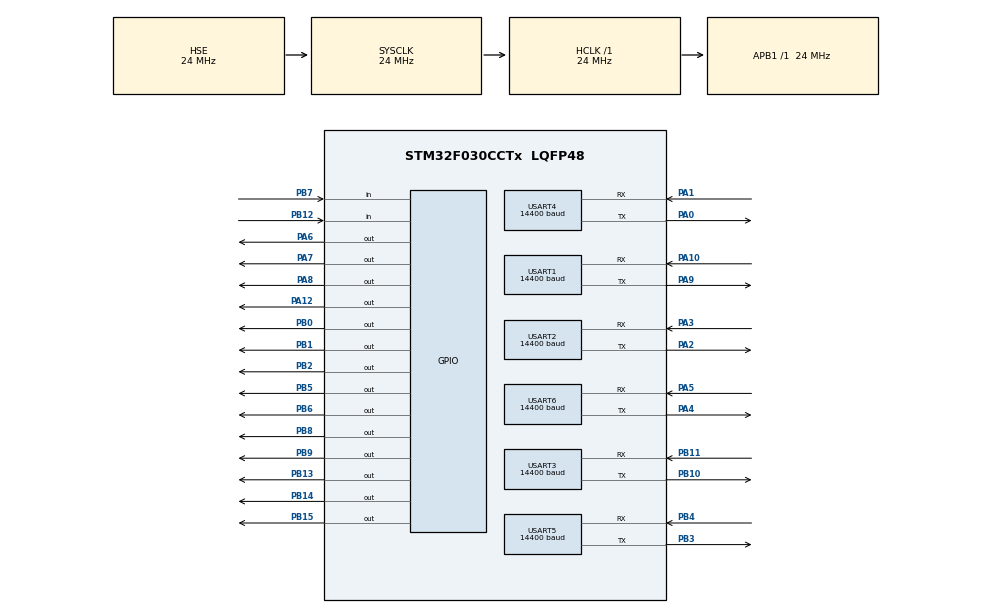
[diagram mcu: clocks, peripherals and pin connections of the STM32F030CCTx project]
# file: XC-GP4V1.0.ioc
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Mcu.Family=STM32F0
Mcu.Name=STM32F030CCTx
Mcu.Package=LQFP48
NVIC.TIM3_IRQn=true\:0\:0\:false\:false\:true\:true\:true
NVIC.USART1_IRQn=true\:0\:0\:false\:false\:true\:true\:true
NVIC.USART2_IRQn=true\:0\:0\:false\:false\:true\:true\:true
NVIC.USART3_6_IRQn=true\:0\:0\:false\:false\:true\:true\:true
PA0.Mode=Asynchronous
PA0.Signal=USART4_TX
PA1.Mode=Asynchronous
PA1.Signal=USART4_RX
PA10.Mode=Asynchronous
PA10.Signal=USART1_RX
PA12.GPIO_ModeDefaultOutputPP=GPIO_MODE_OUTPUT_PP
PA12.GPIO_PuPd=GPIO_NOPULL
PA12.GPIO_Speed=GPIO_SPEED_FREQ_LOW
PA12.PinState=GPIO_PIN_RESET
PA12.Signal=GPIO_Output
PA13.Mode=Serial_Wire
PA13.Signal=SYS_SWDIO
PA14.Mode=Serial_Wire
PA14.Signal=SYS_SWCLK
PA2.Mode=Asynchronous
PA2.Signal=USART2_TX
PA3.Mode=Asynchronous
PA3.Signal=USART2_RX
PA4.Mode=Asynchronous
PA4.Signal=USART6_TX
PA5.Mode=Asynchronous
PA5.Signal=USART6_RX
PA6.GPIO_ModeDefaultOutputPP=GPIO_MODE_OUTPUT_PP
PA6.GPIO_PuPd=GPIO_NOPULL
PA6.GPIO_Speed=GPIO_SPEED_FREQ_LOW
PA6.PinState=GPIO_PIN_RESET
PA6.Signal=GPIO_Output
PA7.GPIO_ModeDefaultOutputPP=GPIO_MODE_OUTPUT_PP
PA7.GPIO_PuPd=GPIO_NOPULL
PA7.GPIO_Speed=GPIO_SPEED_FREQ_LOW
PA7.PinState=GPIO_PIN_RESET
PA7.Signal=GPIO_Output
PA8.GPIO_ModeDefaultOutputPP=GPIO_MODE_OUTPUT_PP
PA8.GPIO_PuPd=GPIO_NOPULL
PA8.GPIO_Speed=GPIO_SPEED_FREQ_LOW
PA8.PinState=GPIO_PIN_RESET
PA8.Signal=GPIO_Output
PA9.Mode=Asynchronous
PA9.Signal=USART1_TX
PB0.GPIO_ModeDefaultOutputPP=GPIO_MODE_OUTPUT_PP
PB0.GPIO_PuPd=GPIO_NOPULL
PB0.GPIO_Speed=GPIO_SPEED_FREQ_LOW
PB0.PinState=GPIO_PIN_RESET
PB0.Signal=GPIO_Output
PB1.GPIO_ModeDefaultOutputPP=GPIO_MODE_OUTPUT_PP
PB1.GPIO_PuPd=GPIO_NOPULL
PB1.GPIO_Speed=GPIO_SPEED_FREQ_LOW
PB1.PinState=GPIO_PIN_RESET
PB1.Signal=GPIO_Output
PB10.Mode=Asynchronous
PB10.Signal=USART3_TX
PB11.Mode=Asynchronous
PB11.Signal=USART3_RX
PB12.GPIO_Mode=GPIO_MODE_INPUT
PB12.GPIO_PuPd=GPIO_NOPULL
PB12.Signal=GPIO_Input
PB13.GPIO_ModeDefaultOutputPP=GPIO_MODE_OUTPUT_PP
PB13.GPIO_PuPd=GPIO_NOPULL
PB13.GPIO_Speed=GPIO_SPEED_FREQ_LOW
PB13.PinState=GPIO_PIN_RESET
PB13.Signal=GPIO_Output
PB14.GPIO_ModeDefaultOutputPP=GPIO_MODE_OUTPUT_PP
PB14.GPIO_PuPd=GPIO_NOPULL
PB14.GPIO_Speed=GPIO_SPEED_FREQ_LOW
PB14.PinState=GPIO_PIN_RESET
PB14.Signal=GPIO_Output
PB15.GPIO_ModeDefaultOutputPP=GPIO_MODE_OUTPUT_PP
PB15.GPIO_PuPd=GPIO_NOPULL
PB15.GPIO_Speed=GPIO_SPEED_FREQ_LOW
PB15.PinState=GPIO_PIN_RESET
PB15.Signal=GPIO_Output
PB2.GPIO_ModeDefaultOutputPP=GPIO_MODE_OUTPUT_PP
PB2.GPIO_PuPd=GPIO_NOPULL
PB2.GPIO_Speed=GPIO_SPEED_FREQ_LOW
PB2.PinState=GPIO_PIN_RESET
PB2.Signal=GPIO_Output
PB3.Mode=Asynchronous
PB3.Signal=USART5_TX
PB4.Mode=Asynchronous
PB4.Signal=USART5_RX
PB5.GPIO_ModeDefaultOutputPP=GPIO_MODE_OUTPUT_PP
PB5.GPIO_PuPd=GPIO_NOPULL
PB5.GPIO_Speed=GPIO_SPEED_FREQ_LOW
PB5.PinState=GPIO_PIN_RESET
PB5.Signal=GPIO_Output
PB6.GPIO_FM6=__NULL
PB6.GPIO_ModeDefaultOutputPP=GPIO_MODE_OUTPUT_PP
PB6.GPIO_PuPd=GPIO_NOPULL
PB6.GPIO_Speed=GPIO_SPEED_FREQ_LOW
PB6.PinState=GPIO_PIN_RESET
PB6.Signal=GPIO_Output
PB7.GPIO_Mode=GPIO_MODE_INPUT
PB7.GPIO_PuPd=GPIO_NOPULL
PB7.Signal=GPIO_Input
PB8.GPIO_FM8=__NULL
PB8.GPIO_ModeDefaultOutputPP=GPIO_MODE_OUTPUT_PP
PB8.GPIO_PuPd=GPIO_NOPULL
PB8.GPIO_Speed=GPIO_SPEED_FREQ_LOW
PB8.PinState=GPIO_PIN_RESET
PB8.Signal=GPIO_Output
PB9.GPIO_FM9=__NULL
PB9.GPIO_ModeDefaultOutputPP=GPIO_MODE_OUTPUT_PP
PB9.GPIO_PuPd=GPIO_NOPULL
PB9.GPIO_Speed=GPIO_SPEED_FREQ_LOW
PB9.PinState=GPIO_PIN_RESET
PB9.Signal=GPIO_Output
PF0-OSC_IN.Mode=HSE-External-Oscillator
PF0-OSC_IN.Signal=RCC_OSC_IN
PF1-OSC_OUT.Mode=HSE-External-Oscillator
PF1-OSC_OUT.Signal=RCC_OSC_OUT
ProjectManager.HeapSize=0x200
ProjectManager.StackSize=0x400
ProjectManager.TargetToolchain=EWARM V8.32
RCC.AHBFreq_Value=24000000
RCC.APB1Freq_Value=24000000
RCC.APB1TimFreq_Value=24000000
RCC.HCLKFreq_Value=24000000
RCC.HSE_VALUE=24000000
RCC.SYSCLKFreq_VALUE=24000000
RCC.SYSCLKSource=RCC_SYSCLKSOURCE_HSE
RCC.Usart1ClockSelection=RCC_USART1CLKSOURCE_SYSCLK
TIM3.Period=1000
TIM3.Prescaler=24000
USART1.BaudRate=14400
USART1.SwapParam=ADVFEATURE_SWAP_ENABLE
USART1.VirtualMode-Asynchronous=VM_ASYNC
USART2.BaudRate=14400
USART2.VirtualMode-Asynchronous=VM_ASYNC
USART3.BaudRate=14400
USART3.SwapParam=ADVFEATURE_SWAP_ENABLE
USART3.VirtualMode-Asynchronous=VM_ASYNC
USART4.BaudRate=14400
USART4.SwapParam=ADVFEATURE_SWAP_ENABLE
USART4.VirtualMode-Asynchronous=VM_ASYNC
USART5.BaudRate=14400
USART5.SwapParam=ADVFEATURE_SWAP_ENABLE
USART5.VirtualMode-Asynchronous=VM_ASYNC
USART6.BaudRate=14400
USART6.SwapParam=ADVFEATURE_SWAP_ENABLE
USART6.VirtualMode=VM_ASYNC
VP_TIM3_VS_ClockSourceINT.Mode=Internal
board=custom

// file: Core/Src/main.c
/* USER CODE BEGIN Header */
/**
******************************************************************************
* @file           : main.c
* @brief          : Main program body
******************************************************************************
* @attention
* <h2><center>&copy; Copyright (c) 2020 STMicroelectronics.
* All rights reserved.</center></h2>
*
* This software component is licensed by ST under BSD 3-Clause license,
* the "License"; You may not use this file except in compliance with the
* License. You may obtain a copy of the License at:
*                        opensource.org/licenses/BSD-3-Clause
******************************************************************************
*/
/* USER CODE END Header */
#include "main.h"
#include "tim.h"
#include "usart.h"
#include "gpio.h"

/* USER CODE BEGIN Includes */
#include "Comm.h"
#include "Config_File.h"
#include "ShiftIn165.h"
#include "ShiftOut595.h"
#include "User_Interface.h"
#include "Elevator_Control.h"
#include "delay.h"
/* USER CODE END Includes */

/* USER CODE BEGIN PTD */
//uint8_t rxBuffer;
/* USER CODE BEGIN 4 */

/* USER CODE END 4 */
uint8_t RXdata[TOTAL_ELEVATOR_NO];
uint8_t RxBufferElevator[TOTAL_ELEVATOR_NO][RX_FRAME_SIZE];
volatile uint8_t frheader[TOTAL_ELEVATOR_NO]={0},frcount[TOTAL_ELEVATOR_NO]={0};
void SetRxBufferElevator(uint8_t ElevatorNumber,uint8_t index,uint8_t data)
{
  RxBufferElevator[ElevatorNumber][index]=data;
}
uint8_t GetRxBufferElevator(uint8_t ElevatorNumber,uint8_t index)
{
  return(RxBufferElevator[ElevatorNumber][index]);
}
/**
  * @brief This function handles USART2 global interrupt.
*/

void UART_Handle_RX_ISR(UART_HandleTypeDef *huart)
{
  /* Read the received data */
  uint8_t ElevNo;
  if(huart->Instance==USART6)      ElevNo=0;
  else if(huart->Instance==USART1) ElevNo=1;
  else if(huart->Instance==USART4) ElevNo=2;
  else if(huart->Instance==USART5) ElevNo=3;
  //receiving my message
  if (frheader[ElevNo] == 0x03)
  {
    RxBufferElevator[ElevNo][frcount[ElevNo]]=RXdata[ElevNo];
    if (frcount[ElevNo] == RX_FRAME_SIZE)
    {
      comm_set_event(ElevNo,COMM_FRAME_RECEIVED);
      frheader[ElevNo] = 0; frcount[ElevNo] = 0;
      HAL_UART_Transmit_IT(huart,GetTxBufferAddress(ElevNo),TX_FRAME_SIZE);
    }
    else frcount[ElevNo]++;
  }
  if ((frheader[ElevNo] == 0x02)&&(RXdata[ElevNo] ==COMM_DUPLEX_CTRL_ID)){frheader[ElevNo] = 0x03;}else if (frheader[ElevNo] == 0x02){frheader[ElevNo] = 0;}
  if ((frheader[ElevNo] == 0x01)&&(RXdata[ElevNo]==COMM_ELEVATOR_CTRL_ID)){frheader[ElevNo] = 0x02;}else if (frheader[ElevNo] == 0x01){frheader[ElevNo] = 0;}
  if ((frheader[ElevNo] == 0x00)&&(RXdata[ElevNo] == COMM_FRAME_HEADER)){frheader[ElevNo] = 0x01;}
  else if ((frheader[ElevNo] == 0x00)&&(frcount[ElevNo] == 0x00)&&(RXdata[ElevNo] == COMM_ACK)){comm_set_event(ElevNo,COMM_RECEIVE_ACK);/*if(huart->Instance==USART6)HAL_UART_Transmit(&huart2,&ElevNo,1,1000);*/}
  HAL_UART_Receive_IT (huart, &RXdata[ElevNo],1);
}

void clearPort(uint8_t ElevNo)
{
  frheader[ElevNo] = 0; frcount[ElevNo] = 0;
}
void HAL_UART_RxCpltCallback(UART_HandleTypeDef *huart)
{
  //__NOP();//test if we reach this position
  UART_Handle_RX_ISR(huart);
}
void HAL_TIM_PeriodElapsedCallback(TIM_HandleTypeDef* htim)
{
  TIM3_COMM_SET_NEW_TICK();
}
void UART_Handle_TX_ISR(UART_HandleTypeDef *huart)
{
  //__NOP();//test if we reach this position
  HAL_UART_Transmit_IT(&huart6,GetTxBufferAddress(0),TX_FRAME_SIZE);
  HAL_UART_Transmit_IT(&huart1,GetTxBufferAddress(1),TX_FRAME_SIZE);
  HAL_UART_Transmit_IT(&huart4,GetTxBufferAddress(2),TX_FRAME_SIZE);
  HAL_UART_Transmit_IT(&huart5,GetTxBufferAddress(3),TX_FRAME_SIZE);
}
void HAL_UART_TxCpltCallback(UART_HandleTypeDef *huart)
{
  UART_Handle_TX_ISR(huart);
}
/* USER CODE END PTD */

void SystemClock_Config(void);

/* USER CODE BEGIN 0 */
struct __FILE{
  int handle;
  /* Whatever you require here. If the only file you are using is */
  /* standard output using printf() for debugging, no file handling */
  /* is required. */
};
FILE __stdout;
int fputc(int TXdata, FILE *f){
    HAL_UART_Transmit(&huart2, (uint8_t *)&TXdata,1,0xffff);
  return TXdata;
}
int ferror(FILE *f)
{
  /* Your implementation of ferror(). */
  return 0;
}
/* PRINTF REDIRECT to UART END */

/* USER CODE END 0 */

int main(void)
{

  /* MCU Configuration--------------------------------------------------------*/

  /* Reset of all peripherals, Initializes the Flash interface and the Systick. */
  HAL_Init();

  /* Configure the system clock */
  SystemClock_Config();

  /* Initialize all configured peripherals */
  MX_GPIO_Init();
  MX_USART1_UART_Init();
  MX_USART2_UART_Init();
  MX_USART3_UART_Init();
  MX_USART4_UART_Init();
  MX_USART5_UART_Init();
  MX_USART6_UART_Init();
  MX_TIM3_Init();
  /* USER CODE BEGIN 2 */
  ClearAllRequests();
  HAL_TIM_Base_Start_IT(&htim3);
  HAL_UART_Receive_IT(&huart6,&RXdata[0],1);// start listening for incomming data
  HAL_UART_Receive_IT(&huart1,&RXdata[1],1);// start listening for incomming data
  HAL_UART_Receive_IT(&huart4,&RXdata[2],1);// start listening for incomming data
  HAL_UART_Receive_IT(&huart5,&RXdata[3],1);// start listening for incomming data
    //printf("XC-GP4 V210102\r\n");
  /* USER CODE END 2 */

  /* Infinite loop */
  /* USER CODE BEGIN WHILE */
  while (1)
  {
    //printf("user_interface_task\r\n");
    user_interface_task();      //!-Handling user interface tasks and determine the best elevator for handling requests
    //printf("elevator_control_task\r\n");
    elevator_control_task();    //!- read elevator status , send new tasks and follow the old tasks
    //printf("communication_task\r\n");
    communication_task();       //!- handling the communication commend through RS232
    //delay_ms(1000);
    /* USER CODE END WHILE */

  }
}

void SystemClock_Config(void)
{
  RCC_OscInitTypeDef RCC_OscInitStruct = {0};
  RCC_ClkInitTypeDef RCC_ClkInitStruct = {0};
  RCC_PeriphCLKInitTypeDef PeriphClkInit = {0};

  /** Initializes the RCC Oscillators according to the specified parameters
  * in the RCC_OscInitTypeDef structure.
  */
  RCC_OscInitStruct.OscillatorType = RCC_OSCILLATORTYPE_HSE;
  RCC_OscInitStruct.HSEState = RCC_HSE_ON;
  RCC_OscInitStruct.PLL.PLLState = RCC_PLL_NONE;
  if (HAL_RCC_OscConfig(&RCC_OscInitStruct) != HAL_OK)
  {
    Error_Handler();
  }
  /** Initializes the CPU, AHB and APB buses clocks
  */
  RCC_ClkInitStruct.ClockType = RCC_CLOCKTYPE_HCLK|RCC_CLOCKTYPE_SYSCLK
                              |RCC_CLOCKTYPE_PCLK1;
  RCC_ClkInitStruct.SYSCLKSource = RCC_SYSCLKSOURCE_HSE;
  RCC_ClkInitStruct.AHBCLKDivider = RCC_SYSCLK_DIV1;
  RCC_ClkInitStruct.APB1CLKDivider = RCC_HCLK_DIV1;

  if (HAL_RCC_ClockConfig(&RCC_ClkInitStruct, FLASH_LATENCY_0) != HAL_OK)
  {
    Error_Handler();
  }
  PeriphClkInit.PeriphClockSelection = RCC_PERIPHCLK_USART1;
  PeriphClkInit.Usart1ClockSelection = RCC_USART1CLKSOURCE_SYSCLK;
  if (HAL_RCCEx_PeriphCLKConfig(&PeriphClkInit) != HAL_OK)
  {
    Error_Handler();
  }
}

void Error_Handler(void)
{
}

/************************ (C) COPYRIGHT STMicroelectronics *****END OF FILE****/
